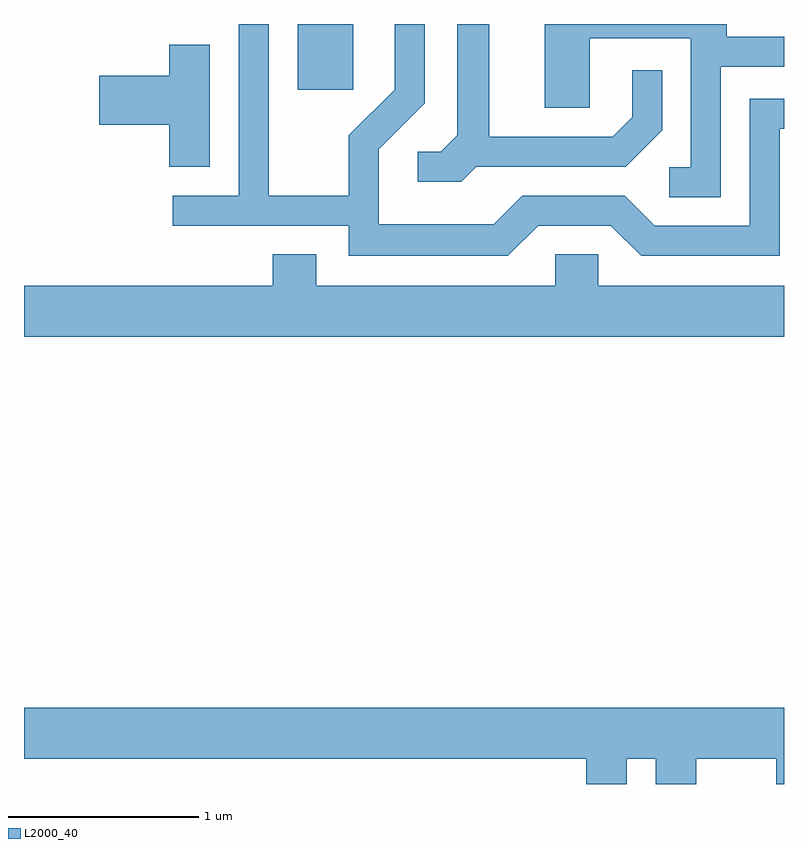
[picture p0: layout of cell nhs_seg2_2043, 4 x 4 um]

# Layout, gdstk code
import gdstk
lib = gdstk.Library(unit=1e-6, precision=1e-09)
def R(c, l, rs):  # rectangles x0, y0, x1, y1
    for r in rs: c.add(gdstk.rectangle(r[:2], r[2:], *l))
def P(c, l, *ps):  # polygons
    for p in ps: c.add(gdstk.Polygon(p, *l))
L2000_40 = (2000, 40)

nhs_seg2_2043 = lib.new_cell('nhs_seg2_2043')
R(nhs_seg2_2043, L2000_40, [(247.051,987.456,247.344,987.802)])
P(nhs_seg2_2043, L2000_40, [(248.317,986.741),(248.699,986.741),(248.859,986.581),(249.589,986.581),(249.589,987.251),(249.611,987.251),(249.611,987.409),(249.431,987.409),(249.431,986.739),(248.932,986.739),(248.772,986.899),(248.234,986.899),(248.084,986.749),(247.479,986.749),(247.479,987.144),(247.719,987.384),(247.719,987.802),(247.561,987.802),(247.561,987.457),(247.321,987.217),(247.321,986.899),(246.899,986.899),(246.899,987.802),(246.741,987.802),(246.741,986.899),(246.393,986.899),(246.393,986.741),(247.321,986.741),(247.321,986.581),(248.157,986.581)],
  [(249.279,987.576),(249.611,987.576),(249.611,987.734),(249.309,987.734),(249.309,987.802),(248.351,987.802),(248.351,987.361),(248.589,987.361),(248.589,987.726),(249.121,987.726),(249.121,987.049),(249.008,987.049),(249.008,986.891),(249.279,986.891)],
  [(247.992,987.051),(248.777,987.051),(248.969,987.244),(248.969,987.558),(248.811,987.558),(248.811,987.312),(248.709,987.209),(248.059,987.209),(248.059,987.802),(247.891,987.802),(247.891,987.217),(247.804,987.129),(247.683,987.129),(247.683,986.971),(247.912,986.971)],
  [(246.589,987.694),(246.376,987.694),(246.376,987.529),(246.006,987.529),(246.006,987.271),(246.376,987.271),(246.376,987.051),(246.589,987.051)],
  [(249.611,986.424),(248.634,986.424),(248.634,986.589),(248.406,986.589),(248.406,986.424),(247.149,986.424),(247.149,986.589),(246.921,986.589),(246.921,986.424),(245.611,986.424),(245.611,986.156),(249.611,986.156)],
  [(248.784,983.936),(248.936,983.936),(248.936,983.802),(249.149,983.802),(249.149,983.936),(249.571,983.936),(249.571,983.802),(249.611,983.802),(249.611,984.204),(245.611,984.204),(245.611,983.936),(248.571,983.936),(248.571,983.802),(248.784,983.802)])

lib.write_gds('nhs_seg2_2043.gds')
